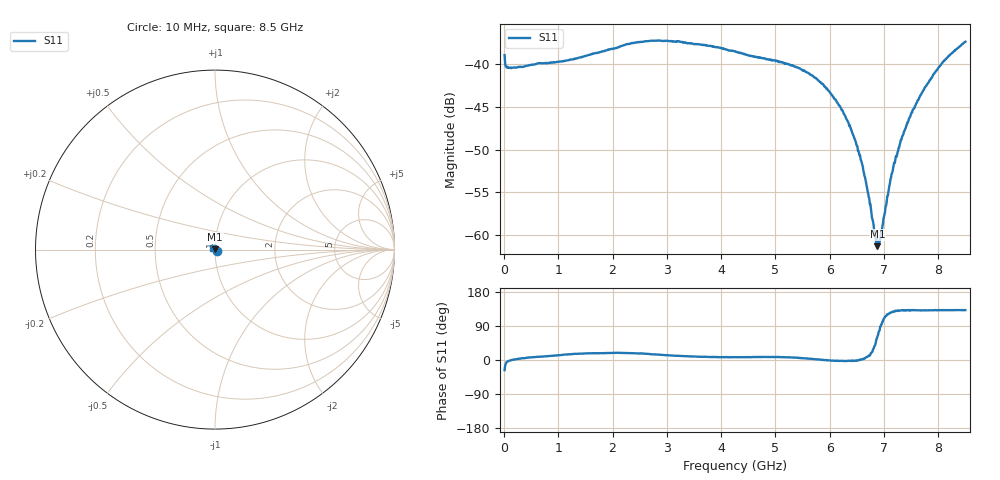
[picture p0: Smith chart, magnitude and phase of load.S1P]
!Agilent Technologies,N3383A,US41480161,A.04.87.01
!Agilent N3383A: A.04.87.01
!Date: Monday, September 24, 2018 17:27:55
!Correction: S11(Full 1 Port,1)
!S1P File: Measurement: S11:
!Part No: ANNEF-50+
!Part Description: SMA Female 50 Ohm Broadband Termination
# Hz S  dB  R 50
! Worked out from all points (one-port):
!   850 points, 10 MHz to 8.5 GHz, reference 50 ohm
!   lowest |S11| = -61.4 dB at 6.88 GHz (marker M1), VSWR 1.00, Z = 50 + j0.0759 ohm
!   |S11| at or under -10 dB: start of sweep to end of sweep
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1e7  -38.90 -26.7
6e7  -40.27 -4.4
1.2e8  -40.37 -0.7
1.08e9  -39.59 13.8
2.14e9  -37.89 19.0
2.7e9  -37.21 15.4
3.2e9  -37.26 11.1
4.26e9  -38.48 7.5
5.32e9  -40.11 6.3
5.65e9  -41.23 3.2
5.91e9  -42.58 -0.3
6.2e9  -45.05 -2.3
6.38e9  -47.40 -2.3
6.5e9  -49.54 -1.0
6.6e9  -51.76 1.5
6.72e9  -55.59 10.9
6.82e9  -59.82 35.1
6.88e9  -61.36 62.5
6.92e9  -60.84 78.5
6.94e9  -60.27 89.1
7.1e9  -54.22 123.4
7.18e9  -51.78 128.2
7.33e9  -48.58 131.5
7.44e9  -46.82 131.2
7.69e9  -43.43 131.2
7.94e9  -40.93 131.4
8.19e9  -38.99 131.6
8.5e9  -37.33 131.7
